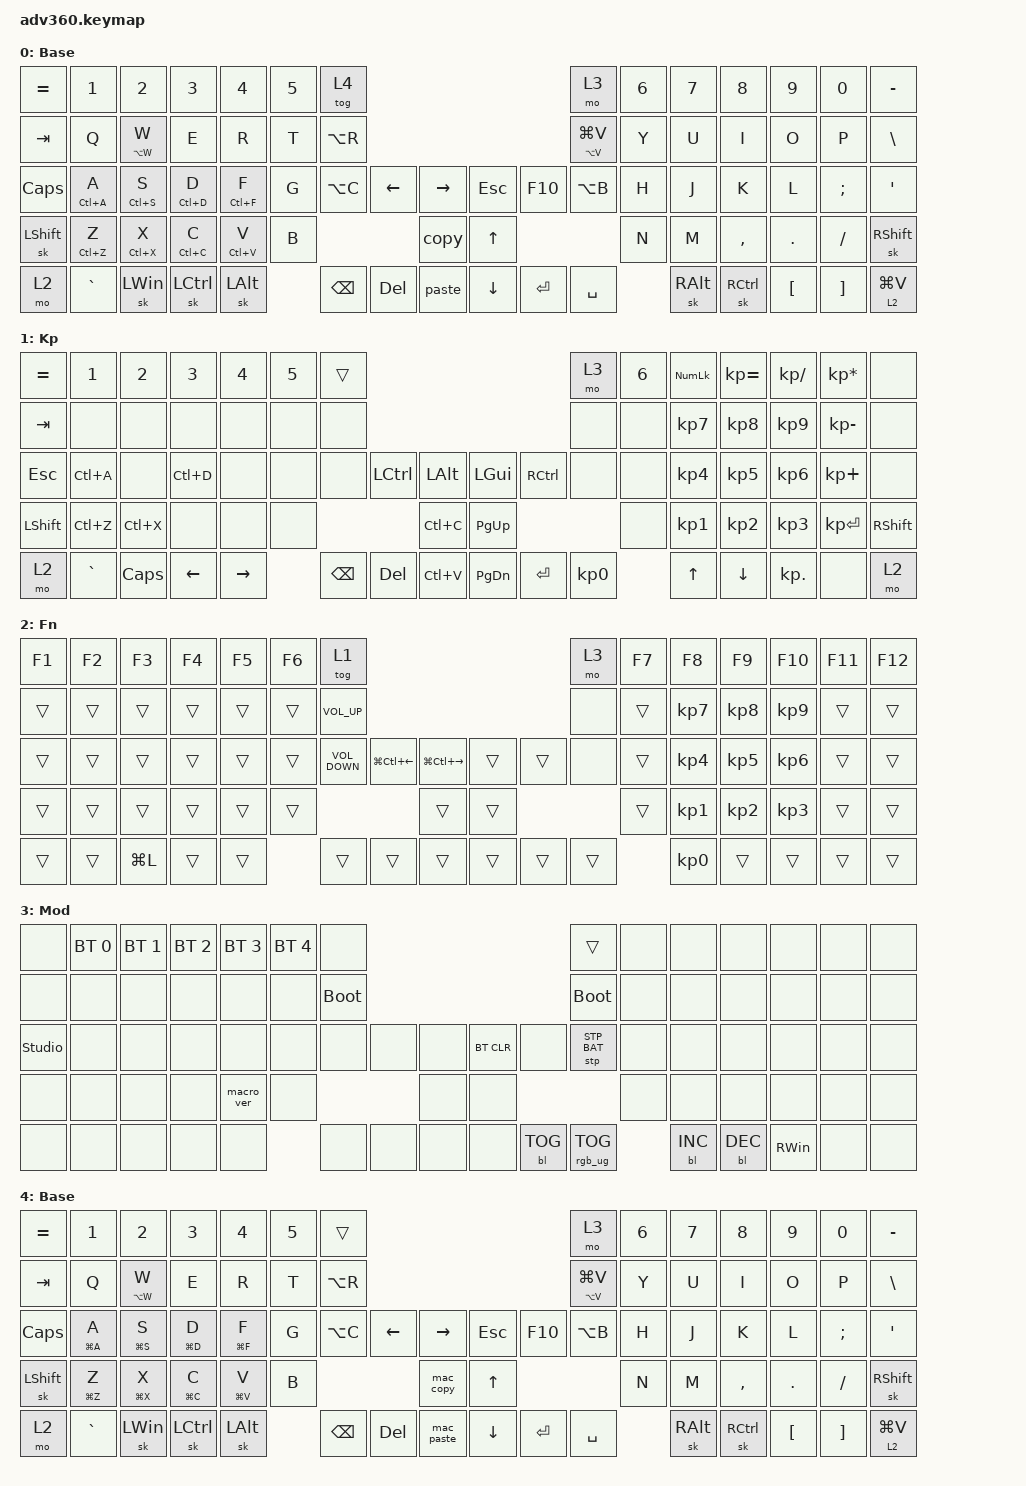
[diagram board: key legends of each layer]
#include <dt-bindings/zmk/stp.h>
#include <behaviors.dtsi>
#include <dt-bindings/zmk/backlight.h>
#include <dt-bindings/zmk/bt.h>
#include <dt-bindings/zmk/keys.h>
#include <dt-bindings/zmk/rgb.h>

/ {
    behaviors {
        #include "macros.dtsi"
      #include "version.dtsi"

        hm: homerow_mods {
            compatible = "zmk,behavior-hold-tap";
            label = "HOMEROW_MODS";
            #binding-cells = <2>;
            tapping-term-ms = <200>;
            quick_tap_ms = <175>;
            flavor = "tap-preferred";
            bindings = <&kp>, <&kp>;
        };

        ho_tap: ho_tap {
            compatible = "zmk,behavior-hold-tap";
            label = "HO_TAP";
            bindings = <&kp>, <&kp>;

            #binding-cells = <2>;
            tapping-term-ms = <200>;
            flavor = "tap-preferred";
        };

        long_ho_tap: long_ho_tap {
            compatible = "zmk,behavior-hold-tap";
            label = "LONG_HO_TAP";
            bindings = <&kp>, <&kp>;

            #binding-cells = <2>;
            flavor = "tap-preferred";
            tapping-term-ms = <350>;
        };

        mo_tap: mo_tap {
            compatible = "zmk,behavior-hold-tap";
            label = "MO_TAP";
            bindings = <&mo>, <&kp>;

            #binding-cells = <2>;
            flavor = "tap-preferred";
            tapping-term-ms = <200>;
        };
    };

    combos {
        compatible = "zmk,combos";

        rshft_combo {
            bindings = <&sk RIGHT_SHIFT>;
            key-positions = <41 42>;
        };

        lshft_combo {
            bindings = <&sk LEFT_SHIFT>;
            key-positions = <32 31>;
        };

        vs_comment {
            bindings = <&vscmnt>;
            key-positions = <50 49>;
        };

        vs_uncomment {
            bindings = <&vsuncmnt>;
            key-positions = <49 48>;
        };

        f11_combo {
            bindings = <&kp F11>;
            key-positions = <37 38>;
        };

        vs_build {
            bindings = <&vsbuild>;
            key-positions = <50 51>;
        };

        vs_cursor_up {
            bindings = <&vs_addcursor_up>;
            key-positions = <53 69>;
        };

        vs_cursor_dn {
            bindings = <&vs_addcursor_dn>;
            key-positions = <68 69>;
        };

        home {
            bindings = <&kp HOME>;
            key-positions = <52 66>;
        };

        end {
            bindings = <&kp END>;
            key-positions = <67 66>;
        };

        my_ralt {
            bindings = <&kp RIGHT_ALT>;
            key-positions = <42 43>;
        };

        my_lalt {
            bindings = <&kp LEFT_ALT>;
            key-positions = <31 30>;
        };

        my_rctrl {
            bindings = <&kp RIGHT_CONTROL>;
            key-positions = <41 42 43>;
        };

        my_lctrl {
            bindings = <&kp LEFT_CONTROL>;
            key-positions = <32 31 30>;
        };
    };

    macros {
        copy: copy {
            compatible = "zmk,behavior-macro";
            #binding-cells = <0>;
            bindings =
                <&macro_press>,
                <&kp LEFT_CONTROL>,
                <&macro_tap>,
                <&kp C>,
                <&macro_release>,
                <&kp LEFT_CONTROL>;

            label = "COPY";
        };

        paste: paste {
            compatible = "zmk,behavior-macro";
            #binding-cells = <0>;
            bindings =
                <&macro_press>,
                <&kp LEFT_CONTROL>,
                <&macro_tap>,
                <&kp V>,
                <&macro_release>,
                <&kp LEFT_CONTROL>;

            label = "PASTE";
        };

        vs_addcursor_dn: vs_addcursor_dn {
            compatible = "zmk,behavior-macro";
            #binding-cells = <0>;
            bindings =
                <&macro_press>,
                <&kp LEFT_ALT>,
                <&macro_press>,
                <&kp LEFT_SHIFT>,
                <&macro_tap>,
                <&kp DOWN_ARROW>,
                <&macro_release>,
                <&kp LEFT_ALT>,
                <&macro_release>,
                <&kp LEFT_SHIFT>;

            label = "VS_ADDCURSOR_DN";
        };

        vs_addcursor_up: vs_addcursor_up {
            compatible = "zmk,behavior-macro";
            #binding-cells = <0>;
            bindings =
                <&macro_press>,
                <&kp LEFT_ALT>,
                <&macro_press>,
                <&kp LEFT_SHIFT>,
                <&macro_tap>,
                <&kp UP_ARROW>,
                <&macro_release>,
                <&kp LEFT_ALT>,
                <&macro_release>,
                <&kp LEFT_SHIFT>;

            label = "VS_ADDCURSOR_UP";
        };

        vsbuild: vsbuild {
            compatible = "zmk,behavior-macro";
            #binding-cells = <0>;
            bindings =
                <&macro_press>,
                <&kp LEFT_ALT>,
                <&macro_tap>,
                <&kp B>,
                <&macro_release>,
                <&kp LEFT_ALT>;

            label = "VSBUILD";
        };

        vsrun: vsrun {
            compatible = "zmk,behavior-macro";
            #binding-cells = <0>;
            bindings =
                <&macro_press>,
                <&kp LEFT_ALT>,
                <&macro_tap>,
                <&kp V>,
                <&macro_release>,
                <&kp LEFT_ALT>;

            label = "VSRUN";
        };

        vscmnt: vscmnt {
            compatible = "zmk,behavior-macro";
            #binding-cells = <0>;
            bindings =
                <&macro_press>,
                <&kp LEFT_ALT>,
                <&macro_tap>,
                <&kp C>,
                <&macro_release>,
                <&kp LEFT_ALT>;

            label = "VSCMNT";
        };

        vsuncmnt: vsuncmnt {
            compatible = "zmk,behavior-macro";
            #binding-cells = <0>;
            bindings =
                <&macro_press>,
                <&kp LEFT_ALT>,
                <&macro_tap>,
                <&kp R>,
                <&macro_release>,
                <&kp LEFT_ALT>;

            label = "VSUNCMNT";
        };

        select_all: select_all {
            compatible = "zmk,behavior-macro";
            #binding-cells = <0>;
            bindings =
                <&macro_press>,
                <&kp LEFT_CONTROL>,
                <&macro_tap>,
                <&kp A>,
                <&macro_release>,
                <&kp LEFT_CONTROL>;

            label = "SELECT_ALL";
        };

        duplicate: duplicate {
            compatible = "zmk,behavior-macro";
            #binding-cells = <0>;
            bindings =
                <&macro_press>,
                <&kp LEFT_CONTROL>,
                <&macro_tap>,
                <&kp D>,
                <&macro_release>,
                <&kp LEFT_CONTROL>;

            label = "DUPLICATE";
        };

        undo: undo {
            compatible = "zmk,behavior-macro";
            #binding-cells = <0>;
            bindings =
                <&macro_press>,
                <&kp LEFT_CONTROL>,
                <&macro_tap>,
                <&kp Z>,
                <&macro_release>,
                <&kp LEFT_CONTROL>;

            label = "UNDO";
        };

        cut: cut {
            compatible = "zmk,behavior-macro";
            #binding-cells = <0>;
            bindings =
                <&macro_press>,
                <&kp LEFT_CONTROL>,
                <&macro_tap>,
                <&kp X>,
                <&macro_release>,
                <&kp LEFT_CONTROL>;

            label = "CUT";
        };

        vs_sorround: vs_sorround {
            compatible = "zmk,behavior-macro";
            #binding-cells = <0>;
            bindings =
                <&macro_press>,
                <&kp LEFT_ALT>,
                <&macro_tap>,
                <&kp W>,
                <&macro_release>,
                <&kp LEFT_ALT>;

            label = "VS_SORROUND";
        };

        vs_find_all: vs_find_all {
            compatible = "zmk,behavior-macro";
            #binding-cells = <0>;
            bindings =
                <&macro_press>,
                <&kp LEFT_ALT>,
                <&macro_tap>,
                <&kp F>,
                <&macro_release>,
                <&kp LEFT_ALT>;

            label = "VS_FIND_ALL";
        };

        mac_copy: mac_copy {
            compatible = "zmk,behavior-macro";
            #binding-cells = <0>;
            bindings =
                <&macro_press>,
                <&kp LEFT_COMMAND>,
                <&macro_tap>,
                <&kp C>,
                <&macro_release>,
                <&kp LEFT_COMMAND>;

            label = "MAC_COPY";
        };

        mac_paste: mac_paste {
            compatible = "zmk,behavior-macro";
            #binding-cells = <0>;
            bindings =
                <&macro_press>,
                <&kp LEFT_COMMAND>,
                <&macro_tap>,
                <&kp V>,
                <&macro_release>,
                <&kp LEFT_COMMAND>;

            label = "MAC_PASTE";
        };

        mac_select_all: mac_select_all {
            compatible = "zmk,behavior-macro";
            #binding-cells = <0>;
            bindings =
                <&macro_press>,
                <&kp LEFT_WIN>,
                <&macro_tap>,
                <&kp A>,
                <&macro_release>,
                <&kp LEFT_WIN>;

            label = "MAC_SELECT_ALL";
        };

        mac_undo: mac_undo {
            compatible = "zmk,behavior-macro";
            #binding-cells = <0>;
            bindings =
                <&macro_press>,
                <&kp LEFT_WIN>,
                <&macro_tap>,
                <&kp Z>,
                <&macro_release>,
                <&kp LEFT_WIN>;

            label = "MAC_UNDO";
        };
    };

    keymap {
        compatible = "zmk,keymap";

        default_layer {
            display-name = "Base";
            bindings = <
&kp EQUAL  &kp N1                &kp N2                &kp N3                &kp N4                &kp N5  &tog 4                                                                     &mo 3                     &kp N6  &kp N7         &kp N8             &kp N9    &kp N0    &kp MINUS
&kp TAB    &kp Q                 &long_ho_tap LA(W) W  &kp E                 &kp R                 &kp T   &kp LA(R)                                                                  &long_ho_tap LA(V) LG(V)  &kp Y   &kp U          &kp I              &kp O     &kp P     &kp BSLH
&kp CAPS   &long_ho_tap LC(A) A  &long_ho_tap LC(S) S  &long_ho_tap LC(D) D  &long_ho_tap LC(F) F  &kp G   &kp LA(C)  &kp LEFT_ARROW  &kp RIGHT_ARROW      &kp ESC         &kp F10    &kp LA(B)                 &kp H   &kp J          &kp K              &kp L     &kp SEMI  &kp SQT
&sk LSHFT  &long_ho_tap LC(Z) Z  &long_ho_tap LC(X) X  &long_ho_tap LC(C) C  &long_ho_tap LC(V) V  &kp B                              &copy                &kp UP_ARROW                                         &kp N   &kp M          &kp COMMA          &kp DOT   &kp FSLH  &sk RSHFT
&mo 2      &kp GRAVE             &sk LEFT_WIN          &sk LEFT_CONTROL      &sk LEFT_ALT                  &kp BSPC   &kp DEL         &paste               &kp DOWN_ARROW  &kp ENTER  &kp SPACE                         &sk RIGHT_ALT  &sk RIGHT_CONTROL  &kp LBKT  &kp RBKT  &mo_tap 2 LG(V)
            >;
        };

        keypad {
            display-name = "Kp";
            bindings = <
&kp EQUAL  &kp N1     &kp N2     &kp N3     &kp N4     &kp N5  &trans                                                    &mo 3      &kp N6  &kp KP_NUM  &kp KP_EQUAL  &kp KP_DIVIDE  &kp KP_MULTIPLY  &none
&kp TAB    &none      &none      &none      &none      &none   &none                                                     &none      &none   &kp KP_N7   &kp KP_N8     &kp KP_N9      &kp KP_MINUS     &none
&kp ESC    &kp LC(A)  &none      &kp LC(D)  &none      &none   &none     &kp LCTRL  &kp LALT       &kp LGUI   &kp RCTRL  &none      &none   &kp KP_N4   &kp KP_N5     &kp KP_N6      &kp KP_PLUS      &none
&kp LSHFT  &kp LC(Z)  &kp LC(X)  &none      &none      &none                        &kp LC(C)      &kp PG_UP                        &none   &kp KP_N1   &kp KP_N2     &kp KP_N3      &kp KP_ENTER     &kp RSHFT
&mo 2      &kp GRAVE  &kp CAPS   &kp LEFT   &kp RIGHT          &kp BSPC  &kp DEL    &kp LC(V)      &kp PG_DN  &kp ENTER  &kp KP_N0          &kp UP      &kp DOWN      &kp KP_DOT     &none            &mo 2
            >;
        };

        fn {
            display-name = "Fn";
            bindings = <
&kp F1  &kp F2  &kp F3     &kp F4  &kp F5  &kp F6  &tog 1                                                                                  &mo 3   &kp F7  &kp F8     &kp F9     &kp F10    &kp F11  &kp F12
&trans  &trans  &trans     &trans  &trans  &trans  &kp C_VOLUME_UP                                                                         &none   &trans  &kp KP_N7  &kp KP_N8  &kp KP_N9  &trans   &trans
&trans  &trans  &trans     &trans  &trans  &trans  &kp C_VOLUME_DOWN  &kp LG(LC(LEFT_ARROW))  &kp LG(LC(RIGHT_ARROW))      &trans  &trans  &none   &trans  &kp KP_N4  &kp KP_N5  &kp KP_N6  &trans   &trans
&trans  &trans  &trans     &trans  &trans  &trans                                             &trans                       &trans                  &trans  &kp KP_N1  &kp KP_N2  &kp KP_N3  &trans   &trans
&trans  &trans  &kp LG(L)  &trans  &trans          &trans             &trans                  &trans                       &trans  &trans  &trans          &kp KP_N0  &trans     &trans     &trans   &trans
            >;
        };

        mod {
            display-name = "Mod";
            bindings = <
&none           &bt BT_SEL 0  &bt BT_SEL 1  &bt BT_SEL 2  &bt BT_SEL 3  &bt BT_SEL 4  &none                                                  &trans           &none  &none       &none       &none     &none  &none
&none           &none         &none         &none         &none         &none         &bootloader                                            &bootloader      &none  &none       &none       &none     &none  &none
&studio_unlock  &none         &none         &none         &none         &none         &none        &none  &none      &bt BT_CLR  &none       &stp STP_BAT     &none  &none       &none       &none     &none  &none
&none           &none         &none         &none         &macro_ver    &none                             &none      &none                                    &none  &none       &none       &none     &none  &none
&none           &none         &none         &none         &none                       &none        &none  &none      &none       &bl BL_TOG  &rgb_ug RGB_TOG         &bl BL_INC  &bl BL_DEC  &kp RWIN  &none  &none
            >;
        };

        MAC {
            display-name = "Base";
            bindings = <
&kp EQUAL  &kp N1                &kp N2                &kp N3                &kp N4                &kp N5  &trans                                                                     &mo 3                     &kp N6  &kp N7         &kp N8             &kp N9    &kp N0    &kp MINUS
&kp TAB    &kp Q                 &long_ho_tap LA(W) W  &kp E                 &kp R                 &kp T   &kp LA(R)                                                                  &long_ho_tap LA(V) LG(V)  &kp Y   &kp U          &kp I              &kp O     &kp P     &kp BSLH
&kp CAPS   &long_ho_tap LG(A) A  &long_ho_tap LG(S) S  &long_ho_tap LG(D) D  &long_ho_tap LG(F) F  &kp G   &kp LA(C)  &kp LEFT_ARROW  &kp RIGHT_ARROW      &kp ESC         &kp F10    &kp LA(B)                 &kp H   &kp J          &kp K              &kp L     &kp SEMI  &kp SQT
&sk LSHFT  &long_ho_tap LG(Z) Z  &long_ho_tap LG(X) X  &long_ho_tap LG(C) C  &long_ho_tap LG(V) V  &kp B                              &mac_copy            &kp UP_ARROW                                         &kp N   &kp M          &kp COMMA          &kp DOT   &kp FSLH  &sk RSHFT
&mo 2      &kp GRAVE             &sk LEFT_WIN          &sk LEFT_CONTROL      &sk LEFT_ALT                  &kp BSPC   &kp DEL         &mac_paste           &kp DOWN_ARROW  &kp ENTER  &kp SPACE                         &sk RIGHT_ALT  &sk RIGHT_CONTROL  &kp LBKT  &kp RBKT  &mo_tap 2 LG(V)
            >;
        };
    };
};
